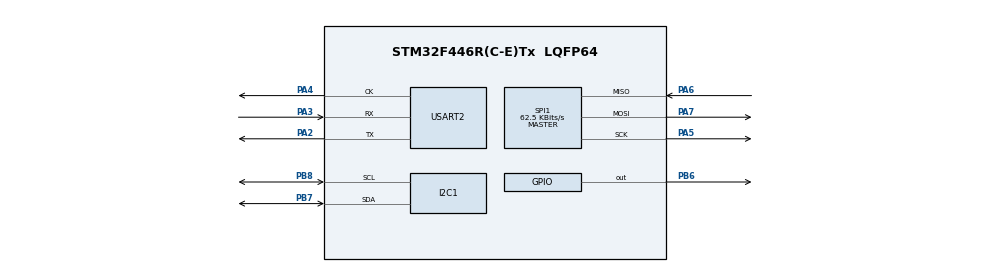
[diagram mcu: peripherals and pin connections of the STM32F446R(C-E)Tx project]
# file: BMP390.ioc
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Mcu.Family=STM32F4
Mcu.Name=STM32F446R(C-E)Tx
Mcu.Package=LQFP64
NVIC.PriorityGroup=NVIC_PRIORITYGROUP_4
PA13.Mode=Trace_Asynchronous_SW
PA13.Signal=SYS_JTMS-SWDIO
PA14.Mode=Trace_Asynchronous_SW
PA14.Signal=SYS_JTCK-SWCLK
PA2.Mode=Synchronous
PA2.Signal=USART2_TX
PA3.Mode=Synchronous
PA3.Signal=USART2_RX
PA4.Mode=Synchronous
PA4.Signal=USART2_CK
PA5.Mode=Full_Duplex_Master
PA5.Signal=SPI1_SCK
PA6.Mode=Full_Duplex_Master
PA6.Signal=SPI1_MISO
PA7.Mode=Full_Duplex_Master
PA7.Signal=SPI1_MOSI
PB3.Mode=Trace_Asynchronous_SW
PB3.Signal=SYS_JTDO-SWO
PB6.GPIO_PuPd=GPIO_PULLUP
PB6.PinState=GPIO_PIN_SET
PB6.Signal=GPIO_Output
PB7.Mode=I2C
PB7.Signal=I2C1_SDA
PB8.Mode=I2C
PB8.Signal=I2C1_SCL
PH0-OSC_IN.Mode=HSE-External-Clock-Source
PH0-OSC_IN.Signal=RCC_OSC_IN
PH1-OSC_OUT.Mode=HSE-External-Clock-Source
PH1-OSC_OUT.Signal=RCC_OSC_OUT
ProjectManager.HeapSize=0x200
ProjectManager.StackSize=0x400
ProjectManager.TargetToolchain=STM32CubeIDE
RCC.CortexFreq_Value=16000000
RCC.USBFreq_Value=96000000
RCC.VCOOutputFreq_Value=192000000
SPI1.BaudRatePrescaler=SPI_BAUDRATEPRESCALER_256
SPI1.CalculateBaudRate=62.5 KBits/s
SPI1.Direction=SPI_DIRECTION_2LINES
SPI1.Mode=SPI_MODE_MASTER
SPI1.VirtualType=VM_MASTER
USART2.VirtualMode=VM_SYNC
board=custom

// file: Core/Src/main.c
/* USER CODE BEGIN Header */
/**
  ******************************************************************************
  * @file           : main.c
  * @brief          : Main program body
  ******************************************************************************
  * @attention
  *
  * Copyright (c) 2025 STMicroelectronics.
  * All rights reserved.
  *
  * This software is licensed under terms that can be found in the LICENSE file
  * in the root directory of this software component.
  * If no LICENSE file comes with this software, it is provided AS-IS.
  *
  ******************************************************************************
  */
/* USER CODE END Header */
#include "main.h"

/* USER CODE BEGIN Includes */
#include "bmp390_task.h"

/* USER CODE END Includes */

I2C_HandleTypeDef hi2c1;

SPI_HandleTypeDef hspi1;

USART_HandleTypeDef husart2;

/* USER CODE BEGIN PV */
struct bmp3_data data = { 0 };
__IO uint8_t read_sensor_flag = 1;

double pressure = 0;
float elevation = 0;
/* USER CODE END PV */

void SystemClock_Config(void);
static void MX_GPIO_Init(void);
static void MX_SPI1_Init(void);
static void MX_I2C1_Init(void);
static void MX_USART2_Init(void);

/* USER CODE BEGIN 0 */
int _write(int file, char *ptr, int len)
{
  /* Implement your write code here, this is used by puts and printf for example */
  int i=0;
  for(i=0 ; i<len ; i++)
    ITM_SendChar((*ptr++));
  return len;
}
/* USER CODE END 0 */

int main(void)
{

  /* MCU Configuration--------------------------------------------------------*/

  /* Reset of all peripherals, Initializes the Flash interface and the Systick. */
  HAL_Init();

  /* Configure the system clock */
  SystemClock_Config();

  /* Initialize all configured peripherals */
  MX_GPIO_Init();
  MX_SPI1_Init();
  MX_I2C1_Init();
  MX_USART2_Init();
  /* USER CODE BEGIN 2 */
  BMP390_Init();
  float elevation_0 = 1001;
  while (elevation_0 < 1 || elevation_0 > 1000) {
	  struct bmp3_data bmp390_data = bmp390_getdata();
	  elevation_0 = convert_Pa_to_meter(bmp390_data.pressure); // m
	  printf("Elev_0: %.2f\n", elevation_0);
  }
  /* USER CODE END 2 */

  /* Infinite loop */
  while (1)
  {

    /* USER CODE BEGIN 3 */
	  if(read_sensor_flag){

		  struct bmp3_data bmp390_data = bmp390_getdata();
		  int32_t pressure_mhPa = convert_Pa_to_mhPa(bmp390_data.pressure);
		  float elevation = convert_mhPa_to_meter(pressure_mhPa);
		  float temperature = bmp390_data.temperature;

		  printf("| %ld %.2f %.2f | \n",pressure_mhPa, elevation,temperature);
		  HAL_Delay(100);
	  }
  }
  /* USER CODE END 3 */
}

void SystemClock_Config(void)
{
  RCC_OscInitTypeDef RCC_OscInitStruct = {0};
  RCC_ClkInitTypeDef RCC_ClkInitStruct = {0};

  /** Configure the main internal regulator output voltage
  */
  __HAL_RCC_PWR_CLK_ENABLE();
  __HAL_PWR_VOLTAGESCALING_CONFIG(PWR_REGULATOR_VOLTAGE_SCALE3);

  /** Initializes the RCC Oscillators according to the specified parameters
  * in the RCC_OscInitTypeDef structure.
  */
  RCC_OscInitStruct.OscillatorType = RCC_OSCILLATORTYPE_HSI;
  RCC_OscInitStruct.HSIState = RCC_HSI_ON;
  RCC_OscInitStruct.HSICalibrationValue = RCC_HSICALIBRATION_DEFAULT;
  RCC_OscInitStruct.PLL.PLLState = RCC_PLL_NONE;
  if (HAL_RCC_OscConfig(&RCC_OscInitStruct) != HAL_OK)
  {
    Error_Handler();
  }

  /** Initializes the CPU, AHB and APB buses clocks
  */
  RCC_ClkInitStruct.ClockType = RCC_CLOCKTYPE_HCLK|RCC_CLOCKTYPE_SYSCLK
                              |RCC_CLOCKTYPE_PCLK1|RCC_CLOCKTYPE_PCLK2;
  RCC_ClkInitStruct.SYSCLKSource = RCC_SYSCLKSOURCE_HSI;
  RCC_ClkInitStruct.AHBCLKDivider = RCC_SYSCLK_DIV1;
  RCC_ClkInitStruct.APB1CLKDivider = RCC_HCLK_DIV1;
  RCC_ClkInitStruct.APB2CLKDivider = RCC_HCLK_DIV1;

  if (HAL_RCC_ClockConfig(&RCC_ClkInitStruct, FLASH_LATENCY_0) != HAL_OK)
  {
    Error_Handler();
  }
}

static void MX_I2C1_Init(void)
{

  hi2c1.Instance = I2C1;
  hi2c1.Init.ClockSpeed = 100000;
  hi2c1.Init.DutyCycle = I2C_DUTYCYCLE_2;
  hi2c1.Init.OwnAddress1 = 0;
  hi2c1.Init.AddressingMode = I2C_ADDRESSINGMODE_7BIT;
  hi2c1.Init.DualAddressMode = I2C_DUALADDRESS_DISABLE;
  hi2c1.Init.OwnAddress2 = 0;
  hi2c1.Init.GeneralCallMode = I2C_GENERALCALL_DISABLE;
  hi2c1.Init.NoStretchMode = I2C_NOSTRETCH_DISABLE;
  if (HAL_I2C_Init(&hi2c1) != HAL_OK)
  {
    Error_Handler();
  }

}

static void MX_SPI1_Init(void)
{

  /* SPI1 parameter configuration*/
  hspi1.Instance = SPI1;
  hspi1.Init.Mode = SPI_MODE_MASTER;
  hspi1.Init.Direction = SPI_DIRECTION_2LINES;
  hspi1.Init.DataSize = SPI_DATASIZE_8BIT;
  hspi1.Init.CLKPolarity = SPI_POLARITY_LOW;
  hspi1.Init.CLKPhase = SPI_PHASE_1EDGE;
  hspi1.Init.NSS = SPI_NSS_SOFT;
  hspi1.Init.BaudRatePrescaler = SPI_BAUDRATEPRESCALER_256;
  hspi1.Init.FirstBit = SPI_FIRSTBIT_MSB;
  hspi1.Init.TIMode = SPI_TIMODE_DISABLE;
  hspi1.Init.CRCCalculation = SPI_CRCCALCULATION_DISABLE;
  hspi1.Init.CRCPolynomial = 10;
  if (HAL_SPI_Init(&hspi1) != HAL_OK)
  {
    Error_Handler();
  }

}

static void MX_USART2_Init(void)
{

  husart2.Instance = USART2;
  husart2.Init.BaudRate = 115200;
  husart2.Init.WordLength = USART_WORDLENGTH_8B;
  husart2.Init.StopBits = USART_STOPBITS_1;
  husart2.Init.Parity = USART_PARITY_NONE;
  husart2.Init.Mode = USART_MODE_TX_RX;
  husart2.Init.CLKPolarity = USART_POLARITY_LOW;
  husart2.Init.CLKPhase = USART_PHASE_1EDGE;
  husart2.Init.CLKLastBit = USART_LASTBIT_DISABLE;
  if (HAL_USART_Init(&husart2) != HAL_OK)
  {
    Error_Handler();
  }

}

static void MX_GPIO_Init(void)
{
  GPIO_InitTypeDef GPIO_InitStruct = {0};

  /* GPIO Ports Clock Enable */
  __HAL_RCC_GPIOH_CLK_ENABLE();
  __HAL_RCC_GPIOA_CLK_ENABLE();
  __HAL_RCC_GPIOB_CLK_ENABLE();

  /*Configure GPIO pin Output Level */
  HAL_GPIO_WritePin(GPIOB, GPIO_PIN_6, GPIO_PIN_SET);

  /*Configure GPIO pin : PB6 */
  GPIO_InitStruct.Pin = GPIO_PIN_6;
  GPIO_InitStruct.Mode = GPIO_MODE_OUTPUT_PP;
  GPIO_InitStruct.Pull = GPIO_PULLUP;
  GPIO_InitStruct.Speed = GPIO_SPEED_FREQ_LOW;
  HAL_GPIO_Init(GPIOB, &GPIO_InitStruct);

}

void Error_Handler(void)
{
  __disable_irq();
  while (1)
  {
  }
}
